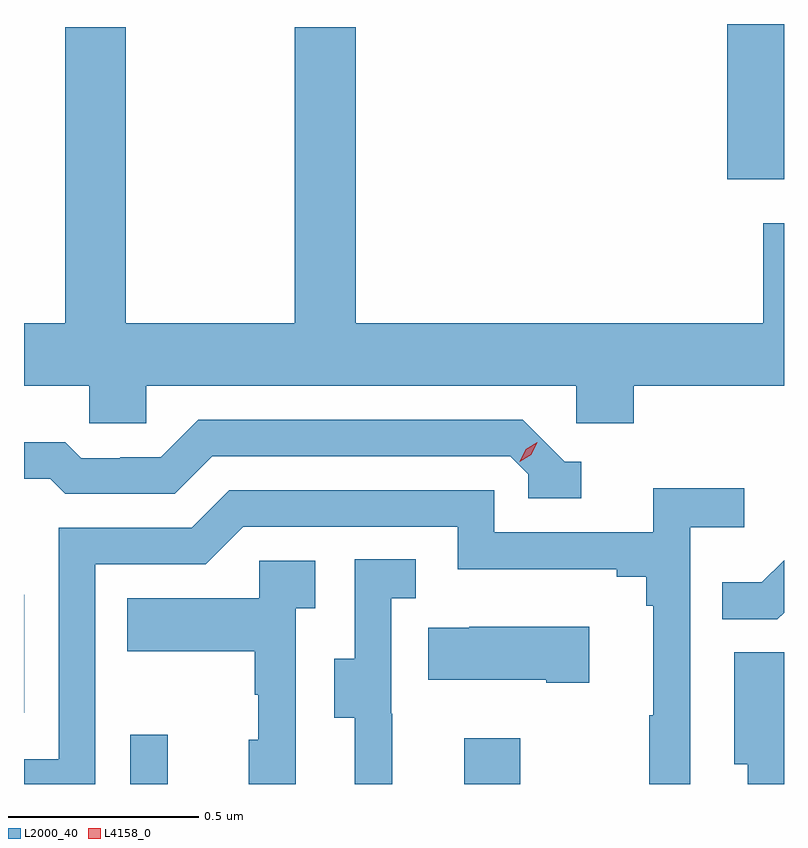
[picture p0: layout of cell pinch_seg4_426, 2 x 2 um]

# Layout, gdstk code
import gdstk
lib = gdstk.Library(unit=1e-6, precision=1e-09)
def R(c, l, rs):  # rectangles x0, y0, x1, y1
    for r in rs: c.add(gdstk.rectangle(r[:2], r[2:], *l))
def P(c, l, *ps):  # polygons
    for p in ps: c.add(gdstk.Polygon(p, *l))
L2000_40 = (2000, 40)
L4158_0 = (4158, 0)

pinch_seg4_426 = lib.new_cell('pinch_seg4_426')
R(pinch_seg4_426, L2000_40, [(989.391,774.46,989.489,774.589), (990.269,774.46,990.417,774.58), (989.111,774.648,989.112,774.958), (990.962,776.051,991.111,776.46)])
P(pinch_seg4_426, L2000_40, [(989.433,775.508),(990.564,775.508),(990.564,775.41),(990.716,775.41),(990.716,775.508),(991.111,775.508),(991.111,775.936),(991.057,775.936),(991.057,775.672),(989.984,775.672),(989.984,776.452),(989.824,776.452),(989.824,775.672),(989.379,775.672),(989.379,776.452),(989.219,776.452),(989.219,775.672),(989.111,775.672),(989.111,775.508),(989.283,775.508),(989.283,775.41),(989.433,775.41)],
  [(990.577,775.308),(990.534,775.308),(990.423,775.419),(989.57,775.419),(989.471,775.32),(989.364,775.32),(989.364,775.317),(989.261,775.317),(989.219,775.36),(989.111,775.36),(989.111,775.263),(989.18,775.263),(989.219,775.224),(989.508,775.224),(989.607,775.323),(990.39,775.323),(990.438,775.275),(990.438,775.212),(990.577,775.212)],
  [(989.298,775.038),(989.589,775.038),(989.688,775.137),(990.252,775.137),(990.252,775.025),(990.671,775.025),(990.671,775.006),(990.748,775.006),(990.748,774.929),(990.767,774.929),(990.767,774.641),(990.756,774.641),(990.756,774.46),(990.864,774.46),(990.864,775.136),(991.006,775.136),(991.006,775.238),(990.767,775.238),(990.767,775.122),(990.348,775.122),(990.348,775.233),(989.651,775.233),(989.552,775.134),(989.202,775.134),(989.202,774.525),(989.111,774.525),(989.111,774.46),(989.298,774.46)],
  [(990.08,774.645),(990.078,774.645),(990.078,774.949),(990.142,774.949),(990.142,775.052),(989.982,775.052),(989.982,774.789),(989.927,774.789),(989.927,774.634),(989.981,774.634),(989.981,774.46),(990.08,774.46)],
  [(991.111,774.911),(991.111,775.049),(991.053,774.991),(990.949,774.991),(990.949,774.893),(991.093,774.893)],
  [(989.826,774.923),(989.878,774.923),(989.878,775.047),(989.73,775.047),(989.73,774.949),(989.383,774.949),(989.383,774.809),(989.718,774.809),(989.718,774.695),(989.728,774.695),(989.728,774.576),(989.702,774.576),(989.702,774.46),(989.826,774.46)],
  [(990.598,774.874),(990.283,774.874),(990.283,774.871),(990.175,774.871),(990.175,774.734),(990.485,774.734),(990.485,774.727),(990.598,774.727)],
  [(991.111,774.807),(990.98,774.807),(990.98,774.512),(991.016,774.512),(991.016,774.46),(991.111,774.46)])
P(pinch_seg4_426, L4158_0, [(990.415,775.308),(990.415,775.308),(990.431,775.341),(990.462,775.36),(990.462,775.36),(990.462,775.36),(990.446,775.327),(990.416,775.308)])

lib.write_gds('pinch_seg4_426.gds')
